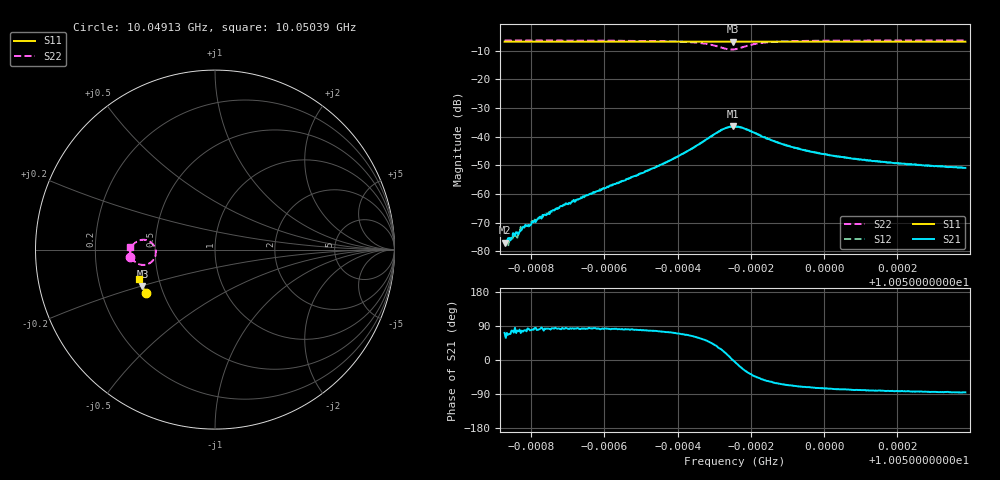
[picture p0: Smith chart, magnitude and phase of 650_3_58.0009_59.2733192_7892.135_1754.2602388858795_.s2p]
#  HZ  S  RI  R  50.00
! Rohde & Schwarz Vector Network Analyzer
! Rohde-Schwarz,ZNB20-2Port,1311601062101988,3.16
! Created: UTC 3/21/2024, 1:19:25 AM
! freq[Hz]  re:S11  im:S11  re:S21  im:S21  re:S12  im:S12  re:S22  im:S22
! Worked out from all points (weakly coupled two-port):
!   401 points, 10.04913 GHz to 10.05039 GHz, reference 50 ohm
!   highest |S21| = -36.44 dB at 10.04975 GHz (marker M1); lowest = -77.0 dB at 10.04913 GHz (marker M2)
!   lowest |S11| = -6.9 dB at 10.04975 GHz (marker M3), VSWR 2.65, Z = 19.8 - j10 ohm
!   |S11| at or under -10 dB: nowhere
!   |S22| runs from -9.6 to -6.5 dB; largest |S21 - S12| = 0.0013
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1.0049127e10  -0.3869 -0.239  4.49e-05 0.000134  2.7e-05 0.000134  -0.4737 -0.0397
1.0049133e10  -0.387 -0.2387  4.86e-05 0.000143  6.03e-05 0.000136  -0.4736 -0.0391
1.0049146e10  -0.3875 -0.2379  3.66e-05 0.000165  1.88e-05 0.000168  -0.4736 -0.0379
1.0049155e10  -0.3878 -0.2373  1.65e-05 0.000185  4.44e-05 0.000165  -0.4736 -0.0371
1.0049162e10  -0.3879 -0.2369  4.58e-05 0.000208  3.76e-05 0.000168  -0.4736 -0.0366
1.0049177e10  -0.3885 -0.2361  6.99e-05 0.000259  4.56e-05 0.000247  -0.4737 -0.0351
1.0049209e10  -0.3895 -0.2342  3.56e-05 0.000344  4.4e-05 0.000344  -0.4735 -0.0321
1.0049288e10  -0.392 -0.2297  8.16e-05 0.000643  3.52e-05 0.00063  -0.4733 -0.0244
1.0049338e10  -0.3936 -0.2266  9.69e-05 0.000847  5.13e-05 0.000867  -0.4728 -0.0188
1.0049549e10  -0.4001 -0.2142  0.000769 0.00301  0.000595 0.00306  -0.4634 0.0151
1.0049621e10  -0.4021 -0.2096  0.00213 0.00491  0.00178 0.00501  -0.4478 0.0358
1.0049694e10  -0.4037 -0.2051  0.00745 0.00718  0.00695 0.0076  -0.3931 0.0547
1.0049725e10  -0.4039 -0.2033  0.0125 0.00528  0.012 0.00609  -0.3473 0.0315
1.004975e10  -0.4042 -0.2022  0.0151 2.3e-05  0.015 0.00114  -0.3297 -0.0198
1.0049757e10  -0.4044 -0.2021  0.015 -0.0015  0.015 -0.000314  -0.3319 -0.034
1.0049791e10  -0.4058 -0.2007  0.0111 -0.00715  0.0116 -0.00629  -0.3775 -0.0817
1.0049835e10  -0.4073 -0.1983  0.00592 -0.00772  0.00655 -0.00754  -0.4281 -0.0793
1.0049895e10  -0.4093 -0.1947  0.00294 -0.00641  0.00339 -0.00632  -0.4558 -0.058
1.0049968e10  -0.4115 -0.1901  0.00162 -0.00517  0.00191 -0.0051  -0.4671 -0.0389
1.0050062e10  -0.414 -0.1844  0.000894 -0.00416  0.00117 -0.00414  -0.4724 -0.022
1.0050179e10  -0.4168 -0.1772  0.000499 -0.00351  0.000726 -0.00347  -0.4747 -0.00714
1.0050386e10  -0.4216 -0.1645  0.000225 -0.00284  0.000363 -0.00283  -0.4754 0.0131
